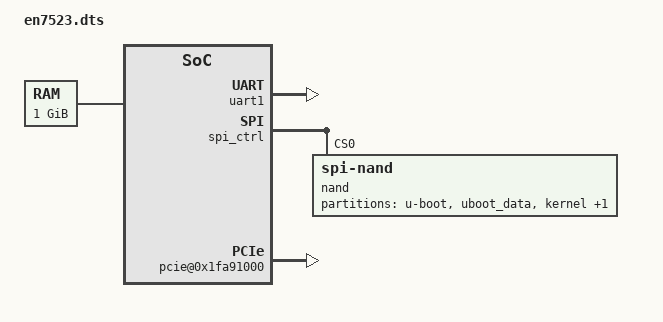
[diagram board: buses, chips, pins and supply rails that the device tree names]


#include <dt-bindings/interrupt-controller/irq.h>
#include <dt-bindings/interrupt-controller/arm-gic.h>

/dts-v1/;

/ {
	compatible = "econet,en7523";
	interrupt-parent = <&gic>;
	#address-cells = <1>;
	#size-cells = <1>;

	chosen {
	/*
		bootargs = "xroot=/dev/mtdblock3 rootfstype=squashfs ro earlycon=uart8250,mmio32,0x1fbf0000 console=ttyS0,115200 init=/sbin/init dyndbg=\"file fs/squashfs/* +p\" loglevel=8";
	*/
		bootargs = "earlycon=uart8250,mmio32,0x1fbf0000 console=ttyS0,115200";
		stdout-path = &uart1;
	};

	reserved-memory {
		#address-cells = <1>;
		#size-cells = <1>;
		ranges;

		npu_reserved: npu_binary@84000000 {
			no-map;
			reg = <0x84000000 0xA00000>;
		};
                host_counter: npu_flag@84B0000 {
                        no-map;
                        reg = <0x84B00000 0x100000>;
                };

                npu_get_pkt: npu_pkt@85000000 {
                        no-map;
                        reg = <0x85000000 0x1A00000>;
                };
                npu_save_phyaddr: npu_phyaddr@86B00000 {
                        no-map;
                        reg = <0x86B00000 0x100000>;
                };
                npu_rx_desc: npu_rxdesc@86D00000 {
                        no-map;
                        reg = <0x86D00000 0x100000>;
                };
	};

/*
	psci {
		compatible = "arm,psci-0.2";
		method = "smc";
	};
*/

	cpus {
		#address-cells = <1>;
		#size-cells = <0>;

		cpu-map {
			cluster0 {
				core0 {
					cpu = <&cpu0>;
				};
				core1 {
					cpu = <&cpu1>;
				};
			};
		};

		cpu0: cpu@0 {
			device_type = "cpu";
			compatible = "arm,cortex-a53";
			reg = <0x0>;
			enable-method = "psci";
			clock-frequency = <80000000>;

			next-level-cache = <&L2_0>;

		};

		cpu1: cpu@1 {
			device_type = "cpu";
			compatible = "arm,cortex-a53";
			reg = <0x1>;
			enable-method = "psci";
			clock-frequency = <80000000>;
			next-level-cache = <&L2_0>;
		};

		L2_0: l2-cache0 {
			compatible = "cache";
		};
	};

	gic: interrupt-controller@09000000 {
		compatible = "arm,gic-v3";
		interrupt-controller;
		#interrupt-cells = <3>;
		#address-cells = <1>;
		#size-cells = <1>;
		reg = <0x09000000 0x20000>,
			  <0x09080000 0x80000>;
		interrupts = <GIC_PPI 9 IRQ_TYPE_LEVEL_LOW>;

		its: gic-its@09020000 {
			compatible = "arm,gic-v3-its";
			msi-controller;
			#msi-cell = <1>;
			reg = <0x090200000 0x20000>;
		};
	};

	timer {
		compatible = "arm,armv8-timer";
		interrupt-parent = <&gic>;
		interrupts = <GIC_PPI 13 (GIC_CPU_MASK_SIMPLE(4) | IRQ_TYPE_LEVEL_LOW)>,
			     <GIC_PPI 14 (GIC_CPU_MASK_SIMPLE(4) | IRQ_TYPE_LEVEL_LOW)>,
			     <GIC_PPI 11 (GIC_CPU_MASK_SIMPLE(4) | IRQ_TYPE_LEVEL_LOW)>,
			     <GIC_PPI 10 (GIC_CPU_MASK_SIMPLE(4) | IRQ_TYPE_LEVEL_LOW)>;
		clock-frequency = <25000000>;
	};

	memory@80000000 {
		device_type = "memory";
		reg = <0x80000000 0x40000000>;
	};

	uart1: serial@1fbf0000 {
		compatible = "ns8250";
		reg = <0x1fbf0000 0x30>;
		reg-io-width = <4>;
		reg-shift = <2>;
		interrupts = <GIC_SPI 18 IRQ_TYPE_LEVEL_HIGH>;
		clock-frequency = <1843200>;
		status = "okay";
	};

	spi_ctrl: spi_controller@1fa10000 {
		compatible = "econet,en7523-spi";
		reg = <0x1fa10000 0x140>;
		#address-cells = <1>;
		#size-cells = <0>;
		spi-rx-bus-width = <2>;
		spi-tx-bus-width = <2>;

		nand: nand@0 {
			compatible = "spi-nand";
			reg = <0>;
			nand-ecc-engine = <&nand>;
			partitions {
				compatible = "fixed-partitions";
				#address-cells = <1>;
				#size-cells = <1>;

				uboot: partition@0 {
					label = "u-boot";
					reg = <0x0 0x80000>;
				};

				uboot_data: partition@1 {
					label = "uboot_data";
					reg = <0x80000 0x40000>;
				};

				kernel: partition@2 {
					label = "kernel";
					reg = <0xc0000 0x480e9f>;
				};

				rootfs: partition@3 {
					label = "rootfs";
					reg = <0x560f98 0xf10000>;
				};

/*
				uboot: partition@0 {
					label = "u-boot";
					reg = <0x0 0x80000>;
				};

				kernel: partition@1 {
					label = "kernel";
					reg = <0xc0000 0x2e4683>;
				};

				rootfs: partition@2 {
					label = "rootfs";
					reg = <0x3a477c 0x2b0000>;
				};

				rootfsdata: partition@3 {
					label = "rootfs_data";
					reg = <0x2000000 0xbf80000>;
				};
*/
			};
		};
	};

	pcie@0x1fa91000 {
		compatible = "ecnt,pcie-en7523";
		device_type = "pci";
		reg = <0x1fa91000 0x1000>,
		      <0x1fa92000 0x1000>,
		      <0x1fa90000 0x1000>,	/* pcie top*/
		      <0x1a100000 0x1000>,	/* switch lane */
		      <0x1a148000 0x1000>,	/* 4, rc0 phy base, for change xtal setting */
		      <0x1a14a000 0x1000>;	/* 5, rc1 phy base, for change xtal setting */
		interrupts = <GIC_SPI 39 IRQ_TYPE_LEVEL_HIGH>,  //23+16
			     <GIC_SPI 40 IRQ_TYPE_LEVEL_HIGH>;  //24+16
		bus-range = <0x00 0xff>;
		#address-cells = <3>;
		#size-cells = <2>;
		/* change xtal for 40M, default is 25M */
		/* change-xtal; */
		/* disable io coherent for RC and EP default. */
		/*dma-coherent;*/
		ranges = <0x82000000 0 0x20000000  0x20000000  0 0x10000000>;

		pcie0: pcie@0,0 {
			device_type = "pci";
			reg = <0x0000 0 0 0 0>;
			#address-cells = <3>;
			#size-cells = <2>;
			#interrupt-cells = <1>;
			ranges;
			interrupt-map-mask = <0 0 0 7>;
			interrupt-map = <0 0 0 1 &pcie_intc0 1>,
					<0 0 0 2 &pcie_intc0 2>,
					<0 0 0 3 &pcie_intc0 3>,
					<0 0 0 4 &pcie_intc0 4>;
			pcie-port = <0>;
			num-lanes = <1>;
			status = "okay";
			pcie_intc0: interrupt-controller {
				interrupt-controller;
				#address-cells = <0>;
				#interrupt-cells = <1>;
			};
		};

		pcie1: pcie@1,0 {
			device_type = "pci";
			reg = <0x0800 0 0 0 0>;
			#address-cells = <3>;
			#size-cells = <2>;
			#interrupt-cells = <1>;
			ranges;
			interrupt-map-mask = <0 0 0 7>;
			interrupt-map = <0 0 0 1 &pcie_intc1 1>,
					<0 0 0 2 &pcie_intc1 2>,
					<0 0 0 3 &pcie_intc1 3>,
					<0 0 0 4 &pcie_intc1 4>;
			pcie-port = <1>;
			num-lanes = <1>;
			status = "okay";
			pcie_intc1: interrupt-controller {
				interrupt-controller;
				#address-cells = <0>;
				#interrupt-cells = <1>;
			};
		};
	};
};
